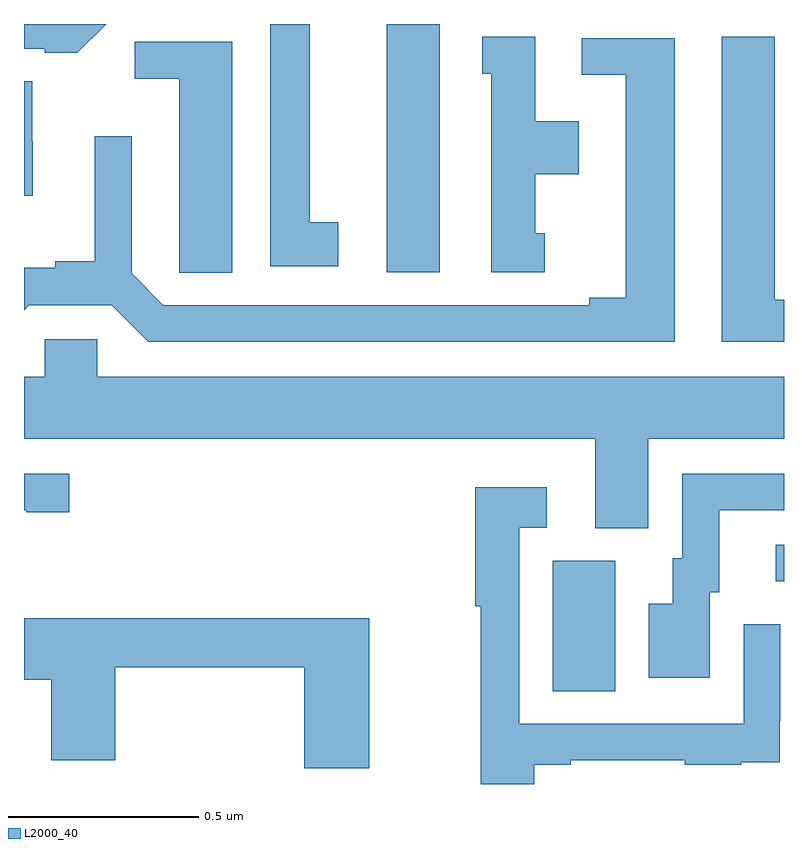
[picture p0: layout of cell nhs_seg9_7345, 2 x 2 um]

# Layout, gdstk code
import gdstk
lib = gdstk.Library(unit=1e-6, precision=1e-09)
def R(c, l, rs):  # rectangles x0, y0, x1, y1
    for r in rs: c.add(gdstk.rectangle(r[:2], r[2:], *l))
def P(c, l, *ps):  # polygons
    for p in ps: c.add(gdstk.Polygon(p, *l))
L2000_40 = (2000, 40)

nhs_seg9_7345 = lib.new_cell('nhs_seg9_7345')
R(nhs_seg9_7345, L2000_40, [(204.392,1207.744,204.556,1208.088), (204.978,1208.034,205,1208.13), (203.954,1208.847,204.094,1209.5)])
P(nhs_seg9_7345, L2000_40, [(203.216,1209.5),(203,1209.5),(203,1209.435),(203.054,1209.435),(203.054,1209.424),(203.14,1209.424)],
  [(203.827,1208.978),(203.752,1208.978),(203.752,1209.5),(203.648,1209.5),(203.648,1208.862),(203.827,1208.862)],
  [(204.37,1208.949),(204.346,1208.949),(204.346,1209.104),(204.46,1209.104),(204.46,1209.244),(204.346,1209.244),(204.346,1209.467),(204.206,1209.467),(204.206,1209.369),(204.23,1209.369),(204.23,1208.847),(204.37,1208.847)],
  [(205,1208.775),(204.976,1208.775),(204.976,1209.467),(204.836,1209.467),(204.836,1208.664),(205,1208.664)],
  [(204.712,1209.462),(204.468,1209.462),(204.468,1209.366),(204.584,1209.366),(204.584,1208.78),(204.488,1208.78),(204.488,1208.76),(203.367,1208.76),(203.283,1208.844),(203.283,1209.205),(203.186,1209.205),(203.186,1208.876),(203.082,1208.876),(203.082,1208.858),(203,1208.858),(203,1208.747),(203.013,1208.76),(203.231,1208.76),(203.327,1208.664),(204.712,1208.664)],
  [(203.548,1209.453),(203.292,1209.453),(203.292,1209.356),(203.408,1209.356),(203.408,1208.953),(203.409,1208.953),(203.409,1208.845),(203.548,1208.845)],
  [(203.023,1209.192),(203.022,1209.192),(203.022,1209.35),(203,1209.35),(203,1209.048),(203.023,1209.048)],
  [(204.643,1208.408),(205,1208.408),(205,1208.572),(203.193,1208.572),(203.193,1208.67),(203.055,1208.67),(203.055,1208.572),(203,1208.572),(203,1208.408),(204.503,1208.408),(204.503,1208.173),(204.643,1208.173)],
  [(203.119,1208.316),(203,1208.316),(203,1208.22),(203.006,1208.22),(203.006,1208.215),(203.119,1208.215)],
  [(204.805,1208.004),(204.829,1208.004),(204.829,1208.22),(205,1208.22),(205,1208.316),(204.732,1208.316),(204.732,1208.094),(204.707,1208.094),(204.707,1207.975),(204.644,1207.975),(204.644,1207.779),(204.805,1207.779)],
  [(204.343,1207.551),(204.439,1207.551),(204.439,1207.563),(204.739,1207.563),(204.739,1207.551),(204.887,1207.551),(204.887,1207.557),(204.989,1207.557),(204.989,1207.666),(204.99,1207.666),(204.99,1207.921),(204.894,1207.921),(204.894,1207.659),(204.303,1207.659),(204.303,1208.175),(204.376,1208.175),(204.376,1208.281),(204.187,1208.281),(204.187,1207.968),(204.202,1207.968),(204.202,1207.5),(204.343,1207.5)],
  [(203.908,1207.936),(203,1207.936),(203,1207.774),(203.072,1207.774),(203.072,1207.563),(203.24,1207.563),(203.24,1207.807),(203.738,1207.807),(203.738,1207.542),(203.908,1207.542)])

lib.write_gds('nhs_seg9_7345.gds')
